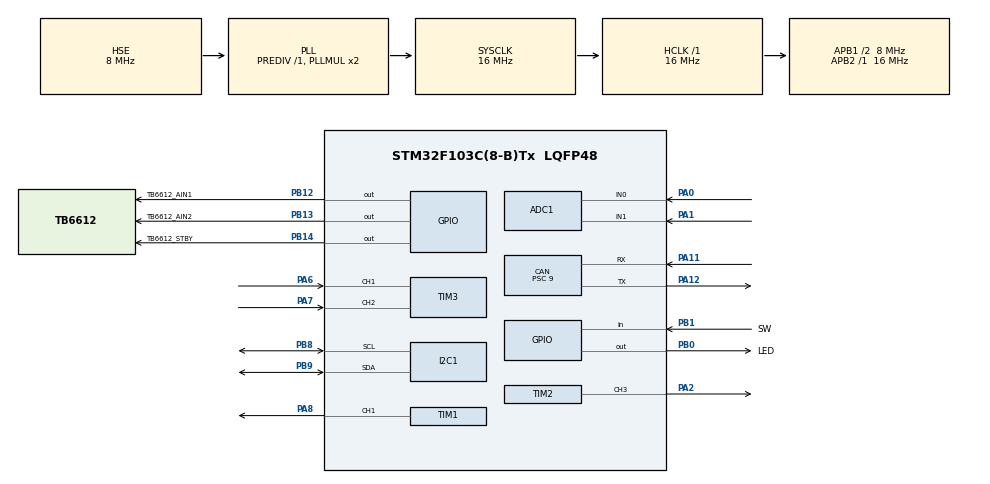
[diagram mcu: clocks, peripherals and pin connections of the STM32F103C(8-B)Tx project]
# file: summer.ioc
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ADC1.Channel-0\#ChannelRegularConversion=ADC_CHANNEL_0
ADC1.Channel-1\#ChannelRegularConversion=ADC_CHANNEL_1
ADC1.ContinuousConvMode=ENABLE
ADC1.NbrOfConversion=2
ADC1.NbrOfConversionFlag=1
ADC1.Rank-0\#ChannelRegularConversion=1
ADC1.Rank-1\#ChannelRegularConversion=2
ADC1.SamplingTime-0\#ChannelRegularConversion=ADC_SAMPLETIME_1CYCLE_5
ADC1.SamplingTime-1\#ChannelRegularConversion=ADC_SAMPLETIME_1CYCLE_5
ADC1.master=1
CAN.ABOM=ENABLE
CAN.BS1=CAN_BS1_11TQ
CAN.BS2=CAN_BS2_4TQ
CAN.CalculateBaudRate=55555
CAN.CalculateTimeBit=18000
CAN.CalculateTimeQuantum=1125.0
CAN.Prescaler=9
CAN.SJW=CAN_SJW_4TQ
CAN.TXFP=ENABLE
FREERTOS.Tasks01=CAN_SendTask,32,128,StartCAN_SendTask,Default,NULL,Dynamic,NULL,NULL;CAN_RecvTask,32,256,StartCAN_RecvTask,Default,NULL,Dynamic,NULL,NULL;CAN_HBTask,24,128,StartCAN_HBTask,Default,NULL,Dynamic,NULL,NULL;LEDTask,24,128,StartLEDTask,Default,NULL,Dynamic,NULL,NULL;JoystickTask,24,128,StartJoystickTask,Default,NULL,Dynamic,NULL,NULL;ServoTask,32,128,StartServoTask,Default,NULL,Dynamic,NULL,NULL;MotorTask,32,256,StartMotorTask,Default,NULL,Dynamic,NULL,NULL;OLEDTask,24,256,StartOLEDTask,Default,NULL,Dynamic,NULL,NULL
FREERTOS.configTOTAL_HEAP_SIZE=15360
Mcu.Family=STM32F1
Mcu.Name=STM32F103C(8-B)Tx
Mcu.Package=LQFP48
NVIC.CAN1_SCE_IRQn=true\:0\:0\:false\:false\:true\:true\:true\:true
NVIC.PriorityGroup=NVIC_PRIORITYGROUP_4
NVIC.TIM4_IRQn=true\:15\:0\:false\:false\:true\:false\:true\:true
NVIC.TimeBase=TIM4_IRQn
NVIC.TimeBaseIP=TIM4
NVIC.USB_HP_CAN1_TX_IRQn=true\:0\:0\:false\:false\:true\:true\:true\:true
NVIC.USB_LP_CAN1_RX0_IRQn=true\:0\:0\:false\:false\:true\:true\:true\:true
PA0-WKUP.Signal=ADCx_IN0
PA1.Signal=ADCx_IN1
PA11.Mode=CAN_Activate
PA11.Signal=CAN_RX
PA12.Mode=CAN_Activate
PA12.Signal=CAN_TX
PA13.Mode=Serial_Wire
PA13.Signal=SYS_JTMS-SWDIO
PA14.Mode=Serial_Wire
PA14.Signal=SYS_JTCK-SWCLK
PA2.Signal=S_TIM2_CH3
PA6.Signal=S_TIM3_CH1
PA7.Signal=S_TIM3_CH2
PA8.Signal=S_TIM1_CH1
PB0.GPIO_Label=LED
PB0.Signal=GPIO_Output
PB1.GPIO_Label=SW
PB1.GPIO_PuPd=GPIO_PULLUP
PB1.Signal=GPIO_Input
PB12.GPIO_Label=TB6612_AIN1
PB12.Signal=GPIO_Output
PB13.GPIO_Label=TB6612_AIN2
PB13.Signal=GPIO_Output
PB14.GPIO_Label=TB6612_STBY
PB14.PinState=GPIO_PIN_SET
PB14.Signal=GPIO_Output
PB8.Mode=I2C
PB8.Signal=I2C1_SCL
PB9.Mode=I2C
PB9.Signal=I2C1_SDA
PD0-OSC_IN.Mode=HSE-External-Oscillator
PD0-OSC_IN.Signal=RCC_OSC_IN
PD1-OSC_OUT.Mode=HSE-External-Oscillator
PD1-OSC_OUT.Signal=RCC_OSC_OUT
ProjectManager.HeapSize=0x200
ProjectManager.StackSize=0x400
ProjectManager.TargetToolchain=STM32CubeIDE
RCC.AHBFreq_Value=16000000
RCC.APB1CLKDivider=RCC_HCLK_DIV2
RCC.APB1Freq_Value=8000000
RCC.APB1TimFreq_Value=16000000
RCC.APB2Freq_Value=16000000
RCC.APB2TimFreq_Value=16000000
RCC.HCLKFreq_Value=16000000
RCC.PLLSourceVirtual=RCC_PLLSOURCE_HSE
RCC.SYSCLKFreq_VALUE=16000000
RCC.SYSCLKSource=RCC_SYSCLKSOURCE_PLLCLK
RCC.USBFreq_Value=16000000
SH.ADCx_IN0.0=ADC1_IN0,IN0
SH.ADCx_IN1.0=ADC1_IN1,IN1
SH.S_TIM1_CH1.0=TIM1_CH1,PWM Generation1 CH1
SH.S_TIM2_CH3.0=TIM2_CH3,PWM Generation3 CH3
SH.S_TIM3_CH1.0=TIM3_CH1,Encoder_Interface
SH.S_TIM3_CH2.0=TIM3_CH2,Encoder_Interface
TIM1.Channel-PWM\ Generation1\ CH1=TIM_CHANNEL_1
TIM2.Channel-PWM\ Generation3\ CH3=TIM_CHANNEL_3
TIM2.Prescaler=71
VP_FREERTOS_VS_CMSIS_V2.Mode=CMSIS_V2
VP_SYS_VS_tim4.Mode=TIM4
VP_TIM1_VS_ClockSourceINT.Mode=Internal
VP_TIM2_VS_ClockSourceINT.Mode=Internal
board=custom

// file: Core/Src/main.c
/* USER CODE BEGIN Header */
/**
  ******************************************************************************
  * @file           : main.c
  * @brief          : Main program body
  ******************************************************************************
  * @attention
  *
  * Copyright (c) 2026 STMicroelectronics.
  * All rights reserved.
  *
  * This software is licensed under terms that can be found in the LICENSE file
  * in the root directory of this software component.
  * If no LICENSE file comes with this software, it is provided AS-IS.
  *
  ******************************************************************************
  */
/* USER CODE END Header */
#include "main.h"
#include "cmsis_os.h"
#include "adc.h"
#include "can.h"
#include "i2c.h"
#include "tim.h"
#include "gpio.h"

/* USER CODE BEGIN Includes */
#include "Summer.h"
#include "system_task_init.h"
/* USER CODE END Includes */

void SystemClock_Config(void);
void MX_FREERTOS_Init(void);

int main(void)
{

  /* MCU Configuration--------------------------------------------------------*/

  /* Reset of all peripherals, Initializes the Flash interface and the Systick. */
  HAL_Init();

  /* Configure the system clock */
  SystemClock_Config();

  /* Initialize all configured peripherals */
  MX_GPIO_Init();
  MX_ADC1_Init();
  MX_CAN_Init();
  MX_I2C1_Init();
  MX_TIM1_Init();
  MX_TIM2_Init();
  MX_TIM3_Init();
  /* USER CODE BEGIN 2 */
  System_Periph_Init();
  /* USER CODE END 2 */

  /* Init scheduler */
  osKernelInitialize();  /* Call init function for freertos objects (in cmsis_os2.c) */
  MX_FREERTOS_Init();

  /* Start scheduler */
  osKernelStart();

  /* We should never get here as control is now taken by the scheduler */

  /* Infinite loop */
  while (1)
  {

  }
}

void SystemClock_Config(void)
{
  RCC_OscInitTypeDef RCC_OscInitStruct = {0};
  RCC_ClkInitTypeDef RCC_ClkInitStruct = {0};
  RCC_PeriphCLKInitTypeDef PeriphClkInit = {0};

  /** Initializes the RCC Oscillators according to the specified parameters
  * in the RCC_OscInitTypeDef structure.
  */
  RCC_OscInitStruct.OscillatorType = RCC_OSCILLATORTYPE_HSE;
  RCC_OscInitStruct.HSEState = RCC_HSE_ON;
  RCC_OscInitStruct.HSEPredivValue = RCC_HSE_PREDIV_DIV1;
  RCC_OscInitStruct.HSIState = RCC_HSI_ON;
  RCC_OscInitStruct.PLL.PLLState = RCC_PLL_ON;
  RCC_OscInitStruct.PLL.PLLSource = RCC_PLLSOURCE_HSE;
  RCC_OscInitStruct.PLL.PLLMUL = RCC_PLL_MUL2;
  if (HAL_RCC_OscConfig(&RCC_OscInitStruct) != HAL_OK)
  {
    Error_Handler();
  }

  /** Initializes the CPU, AHB and APB buses clocks
  */
  RCC_ClkInitStruct.ClockType = RCC_CLOCKTYPE_HCLK|RCC_CLOCKTYPE_SYSCLK
                              |RCC_CLOCKTYPE_PCLK1|RCC_CLOCKTYPE_PCLK2;
  RCC_ClkInitStruct.SYSCLKSource = RCC_SYSCLKSOURCE_PLLCLK;
  RCC_ClkInitStruct.AHBCLKDivider = RCC_SYSCLK_DIV1;
  RCC_ClkInitStruct.APB1CLKDivider = RCC_HCLK_DIV2;
  RCC_ClkInitStruct.APB2CLKDivider = RCC_HCLK_DIV1;

  if (HAL_RCC_ClockConfig(&RCC_ClkInitStruct, FLASH_LATENCY_0) != HAL_OK)
  {
    Error_Handler();
  }
  PeriphClkInit.PeriphClockSelection = RCC_PERIPHCLK_ADC;
  PeriphClkInit.AdcClockSelection = RCC_ADCPCLK2_DIV2;
  if (HAL_RCCEx_PeriphCLKConfig(&PeriphClkInit) != HAL_OK)
  {
    Error_Handler();
  }
}

void HAL_TIM_PeriodElapsedCallback(TIM_HandleTypeDef *htim)
{
  if (htim->Instance == TIM4)
  {
    HAL_IncTick();
  }
}

void Error_Handler(void)
{
  __disable_irq();
  while (1)
  {
  }
}

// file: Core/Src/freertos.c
/* USER CODE BEGIN Header */
/**
  ******************************************************************************
  * File Name          : freertos.c
  * Description        : Code for freertos applications
  ******************************************************************************
  * @attention
  *
  * Copyright (c) 2026 STMicroelectronics.
  * All rights reserved.
  *
  * This software is licensed under terms that can be found in the LICENSE file
  * in the root directory of this software component.
  * If no LICENSE file comes with this software, it is provided AS-IS.
  *
  ******************************************************************************
  */
/* USER CODE END Header */

#include "FreeRTOS.h"
#include "task.h"
#include "main.h"
#include "cmsis_os.h"

/* USER CODE BEGIN Includes */
#include "Summer.h"
#include "can_app.h"
#include "bsp_can.h"
#include "bsp_led.h"
#include "can_protocol.h"
#include <math.h>
#include <stdio.h>
#ifdef GIMBAL
#include "servo_app.h"
#include "joystick_app.h"
#include "bsp_joystick.h"
#include "bsp_servo.h"
#endif
#ifdef CHASSIS
#include "OLED_app.h"
#include "motor_control.h"
#include "bsp_oled.h"
#endif
/* USER CODE END Includes */

/* USER CODE BEGIN Variables */
static uint8_t g_self_test_active = 0;
/* USER CODE END Variables */
osThreadId_t CAN_SendTaskHandle;
const osThreadAttr_t CAN_SendTask_attributes = {
  .name = "CAN_SendTask",
  .stack_size = 128 * 4,
  .priority = (osPriority_t) osPriorityAboveNormal,
};
/* Definitions for CAN_RecvTask */
osThreadId_t CAN_RecvTaskHandle;
const osThreadAttr_t CAN_RecvTask_attributes = {
  .name = "CAN_RecvTask",
  .stack_size = 256 * 4,
  .priority = (osPriority_t) osPriorityAboveNormal,
};
/* Definitions for CAN_HB */
osThreadId_t CAN_HBHandle;
const osThreadAttr_t CAN_HB_attributes = {
  .name = "CAN_HB",
  .stack_size = 128 * 4,
  .priority = (osPriority_t) osPriorityLow,
};
/* Definitions for LEDTask */
osThreadId_t LEDTaskHandle;
const osThreadAttr_t LEDTask_attributes = {
  .name = "LEDTask",
  .stack_size = 128 * 4,
  .priority = (osPriority_t) osPriorityNormal,
};
/* Definitions for JoystickTask */
osThreadId_t JoystickTaskHandle;
const osThreadAttr_t JoystickTask_attributes = {
  .name = "JoystickTask",
  .stack_size = 128 * 4,
  .priority = (osPriority_t) osPriorityNormal,
};
/* Definitions for ServoTask */
osThreadId_t ServoTaskHandle;
const osThreadAttr_t ServoTask_attributes = {
  .name = "ServoTask",
  .stack_size = 128 * 4,
  .priority = (osPriority_t) osPriorityAboveNormal,
};
/* Definitions for MotorTask */
osThreadId_t MotorTaskHandle;
const osThreadAttr_t MotorTask_attributes = {
  .name = "MotorTask",
  .stack_size = 256 * 4,
  .priority = (osPriority_t) osPriorityAboveNormal,
};
/* Definitions for OLEDTask */
osThreadId_t OLEDTaskHandle;
const osThreadAttr_t OLEDTask_attributes = {
  .name = "OLEDTask",
  .stack_size = 256 * 4,
  .priority = (osPriority_t) osPriorityNormal,
};

/* USER CODE BEGIN FunctionPrototypes */
#ifdef GIMBAL
static void SelfTest_Execute(void);
#endif
#ifdef CHASSIS
static float encoder_to_rpm(int32_t delta, float dt_sec);
#endif
/* USER CODE END FunctionPrototypes */

void StartCAN_SendTask(void *argument);
void StartCAN_RecvTask(void *argument);
void StartCAN_HBTask(void *argument);
void StartLEDTask(void *argument);
void StartJoystickTask(void *argument);
void StartServoTask(void *argument);
void StartMotorTask(void *argument);
void StartOLEDTask(void *argument);

void MX_FREERTOS_Init(void); /* (MISRA C 2004 rule 8.1) */

void MX_FREERTOS_Init(void) {

  /* Create the thread(s) */
  CAN_SendTaskHandle = osThreadNew(StartCAN_SendTask, NULL, &CAN_SendTask_attributes);
  CAN_RecvTaskHandle = osThreadNew(StartCAN_RecvTask, NULL, &CAN_RecvTask_attributes);
  CAN_HBHandle = osThreadNew(StartCAN_HBTask, NULL, &CAN_HB_attributes);
  LEDTaskHandle = osThreadNew(StartLEDTask, NULL, &LEDTask_attributes);

#ifdef GIMBAL
  JoystickTaskHandle = osThreadNew(StartJoystickTask, NULL, &JoystickTask_attributes);
  ServoTaskHandle = osThreadNew(StartServoTask, NULL, &ServoTask_attributes);
#endif

#ifdef CHASSIS
  MotorTaskHandle = osThreadNew(StartMotorTask, NULL, &MotorTask_attributes);
  OLEDTaskHandle = osThreadNew(StartOLEDTask, NULL, &OLEDTask_attributes);
#endif

}

void StartCAN_SendTask(void *argument)
{
  /* USER CODE BEGIN StartCAN_SendTask */
  (void)argument;
  uint8_t tx_data[8];
  TickType_t xLastWakeTime = xTaskGetTickCount();
  for(;;)
  {
    uint32_t period = g_can_state.can_comm_ok
                    ? CAN_SEND_PERIOD_MS : CAN_SLOW_SEND_PERIOD_MS;
    vTaskDelayUntil(&xLastWakeTime, pdMS_TO_TICKS(period));
#ifdef GIMBAL
    g_can_state.gimbal_ctrl.gimbal_heartbeat = g_can_state.gimbal_heartbeat;
    GimbalCtrlMsg_t ctrl = g_can_state.gimbal_ctrl;
    Protocol_EncodeGimbalCtrl(&ctrl, tx_data);
    HAL_StatusTypeDef status = BSP_CAN_SendMessage(CAN_GIMBAL_TO_CHASSIS_ID, tx_data, CAN_TX_TIMEOUT);
    g_can_state.gimbal_heartbeat = (g_can_state.gimbal_heartbeat + 1) & CAN_HEARTBEAT_MASK;
#endif
#ifdef CHASSIS
    g_can_state.chassis_feedback.chassis_heartbeat = g_can_state.chassis_heartbeat;
    ChassisFeedbackMsg_t fb = g_can_state.chassis_feedback;
    Protocol_EncodeChassisFeedback(&fb, tx_data);
    HAL_StatusTypeDef status = BSP_CAN_SendMessage(CAN_CHASSIS_TO_GIMBAL_ID, tx_data, CAN_TX_TIMEOUT);
    g_can_state.chassis_heartbeat = (g_can_state.chassis_heartbeat + 1) & CAN_HEARTBEAT_MASK;
#endif
    if (status == HAL_OK) g_can_state.can_tx_cnt++;
    osDelay(20);
  }
  /* USER CODE END StartCAN_SendTask */
}

void StartCAN_RecvTask(void *argument)
{
  /* USER CODE BEGIN StartCAN_RecvTask */
  (void)argument;
  BSP_CAN_RxMsg_t rx_msg;
  for(;;)
  {
    if (BSP_CAN_GetRxMessage(&rx_msg) == 0) {
      vTaskDelay(pdMS_TO_TICKS(1));
      continue;
    }
#ifdef GIMBAL
    if (rx_msg.header.StdId == CAN_CHASSIS_TO_GIMBAL_ID) {
      Protocol_DecodeChassisFeedback(rx_msg.data, &g_can_state.chassis_feedback_rx);
      g_can_state.chassis_fb_updated = 1;
      g_can_state.last_chassis_rx_time = HAL_GetTick();
      g_can_state.can_rx_cnt++;
      if (g_can_state.chassis_feedback_rx.chassis_heartbeat != g_can_state.last_chassis_hb) {
        g_can_state.last_chassis_hb = g_can_state.chassis_feedback_rx.chassis_heartbeat;
        g_can_state.chassis_online = 1;
      }
    }
#endif
#ifdef CHASSIS
    if (rx_msg.header.StdId == CAN_GIMBAL_TO_CHASSIS_ID) {
      Protocol_DecodeGimbalCtrl(rx_msg.data, &g_can_state.gimbal_ctrl_rx);
      g_can_state.gimbal_ctrl_updated = 1;
      g_can_state.last_gimbal_rx_time = HAL_GetTick();
      g_can_state.can_rx_cnt++;
      if (g_can_state.gimbal_ctrl_rx.gimbal_heartbeat != g_can_state.last_gimbal_hb) {
        g_can_state.last_gimbal_hb = g_can_state.gimbal_ctrl_rx.gimbal_heartbeat;
        g_can_state.gimbal_online = 1;
      }
    }
#endif
    osDelay(1);
  }
  /* USER CODE END StartCAN_RecvTask */
}

void StartCAN_HBTask(void *argument)
{
  /* USER CODE BEGIN StartCAN_HBTask */
  (void)argument;
  TickType_t xLastWakeTime = xTaskGetTickCount();
  vTaskDelay(pdMS_TO_TICKS(500));
  /* Infinite loop */
  for(;;)
  {
    vTaskDelayUntil(&xLastWakeTime, pdMS_TO_TICKS(50));
    uint32_t now = HAL_GetTick();
    uint8_t prev_comm_ok = g_can_state.can_comm_ok;
    uint8_t comm_ok = 1;
#ifdef GIMBAL
    if ((now - g_can_state.last_chassis_rx_time) > CAN_HEARTBEAT_TIMEOUT) {
      g_can_state.chassis_online = 0;
      comm_ok = 0;
    }
    g_can_state.can_comm_ok = comm_ok;
    if (prev_comm_ok != comm_ok) {
      if (comm_ok)
        g_can_state.gimbal_ctrl.status_flags &= ~STATUS_CAN_ERROR;
      else
        g_can_state.gimbal_ctrl.status_flags |= STATUS_CAN_ERROR;
    }
#endif
#ifdef CHASSIS
    if ((now - g_can_state.last_gimbal_rx_time) > CAN_HEARTBEAT_TIMEOUT) {
      g_can_state.gimbal_online = 0;
      g_can_state.gimbal_ctrl_rx.servo_online = 0;
      comm_ok = 0;
    }
    g_can_state.can_comm_ok = comm_ok;
    if (prev_comm_ok != comm_ok) {
      if (comm_ok)
        g_can_state.chassis_feedback.status_flags &= ~STATUS_CAN_ERROR;
      else
        g_can_state.chassis_feedback.status_flags |= STATUS_CAN_ERROR;
    }
#endif
    osDelay(1);
  }
  /* USER CODE END StartCAN_HBTask */
}

void StartLEDTask(void *argument)
{
  /* USER CODE BEGIN StartLEDTask */
  (void)argument;
  LED_StartBlink();
  uint8_t should_breath = 0;
  for(;;)
  {
    if (g_self_test_active) {
      LED_On();
      vTaskDelay(pdMS_TO_TICKS(50));
      continue;
    }
    uint8_t steady_on = 0;
#ifdef GIMBAL
    if (g_can_state.chassis_online && g_can_state.chassis_feedback_rx.motor_online) {
      steady_on = 1;
    }
    should_breath = g_can_state.can_comm_ok ? 0 : 1;
#endif
#ifdef CHASSIS
    if (MotorControl_IsError() == 0) {
      steady_on = 1;
    }
    should_breath = g_motor.motor_error ? 1 : 0;
#endif
    if (steady_on) {
      LED_On();
      vTaskDelay(pdMS_TO_TICKS(200));
    } else {
      LED_Breath(should_breath);
    }
  }
  /* USER CODE END StartLEDTask */
}

#ifdef GIMBAL
void StartJoystickTask(void *argument)
{
  /* USER CODE BEGIN StartJoystickTask */
  (void)argument;
  BSP_Joystick_Calibrate();
  TickType_t xLastWakeTime = xTaskGetTickCount();
  for(;;)
  {
    vTaskDelayUntil(&xLastWakeTime, pdMS_TO_TICKS(JOYSTICK_SAMPLE_PERIOD_MS));
    if (!g_self_test_active && Joystick_APP_IsSWPressed()) {
      g_self_test_active = 1;
      SelfTest_Execute();
      g_self_test_active = 0;
      continue;
    }
    if (g_self_test_active) {
      continue;
    }
    int16_t servo_rpm = 0;
    int16_t wheel_rpm = 0;
    Joystick_APP_Update(&servo_rpm, &wheel_rpm);
    CAN_App_SetGimbalCtrl(servo_rpm, wheel_rpm);
    osDelay(10);
  }
  /* USER CODE END StartJoystickTask */
}
#endif

#ifdef GIMBAL
void StartServoTask(void *argument)
{
  /* USER CODE BEGIN StartServoTask */
  (void)argument;
  TickType_t xLastWakeTime = xTaskGetTickCount();
  for(;;)
  {
    vTaskDelayUntil(&xLastWakeTime, pdMS_TO_TICKS(SERVO_CTRL_PERIOD_MS));
    if (g_self_test_active) {
      osDelay(20);
      continue;
    }
    int8_t speed = g_servo.target_speed;
    BSP_Servo_SetSpeed(speed);
    osDelay(20);
  }
  /* USER CODE END StartServoTask */
}
#endif

#ifdef CHASSIS
void StartMotorTask(void *argument)
{
  /* USER CODE BEGIN StartMotorTask */
  (void)argument;
  Motor_SelfTest();
  TickType_t xLastWakeTime = xTaskGetTickCount();
  for(;;)
  {
    vTaskDelayUntil(&xLastWakeTime, pdMS_TO_TICKS(MOTOR_CTRL_PERIOD_MS));
    int32_t encoder_delta = BSP_Motor_GetEncoderAndClear();
    float actual_rpm = encoder_to_rpm(encoder_delta, MOTOR_CTRL_DT);
    g_motor.actual_rpm = actual_rpm;
    g_motor.raw_encoder = encoder_delta;
    float target_rpm = g_motor.target_rpm;
    if (CAN_App_IsGimbalCtrlUpdated()) {
      GimbalCtrlMsg_t ctrl = CAN_App_GetGimbalCtrl();
      target_rpm = (float)ctrl.wheel_target_speed;
      g_motor.target_rpm = target_rpm;
      g_motor.target_updated = 1;
    }
    if (fabsf(target_rpm) < MOTOR_ZERO_SPEED_THRESHOLD) {
      PID_Reset(&g_motor.speed_pid);
    }
    float pid_out = PID_Compute(&g_motor.speed_pid, target_rpm, actual_rpm, MOTOR_CTRL_DT);
    g_motor.pid_output = pid_out;
    uint16_t duty = (uint16_t)fabsf(pid_out);
    if (duty > MOTOR_PWM_MAX) duty = MOTOR_PWM_MAX;
    if (duty < 50 && fabsf(target_rpm) < MOTOR_ZERO_SPEED_THRESHOLD) {
      BSP_Motor_Stop();
    }
    else if (pid_out > 0.0f) {
      BSP_Motor_SetSpeed(duty, MOTOR_DIR_CW);
    }
    else if (pid_out < 0.0f) {
      BSP_Motor_SetSpeed(duty, MOTOR_DIR_CCW);
    }
    else {
      BSP_Motor_Stop();
    }
    CAN_App_SetChassisFeedback((int16_t)actual_rpm, (int16_t)encoder_delta);
  }
  /* USER CODE END StartMotorTask */
}
#endif

#ifdef CHASSIS
void StartOLEDTask(void *argument)
{
  /* USER CODE BEGIN StartOLEDTask */
  (void)argument;
  vTaskDelay(pdMS_TO_TICKS(100));
  TickType_t xLastWakeTime = xTaskGetTickCount();
  for(;;)
  {
    vTaskDelayUntil(&xLastWakeTime, pdMS_TO_TICKS(OLED_REFRESH_PERIOD_MS));
    OLED_app_Update();
    osDelay(1);
  }
  /* USER CODE END StartOLEDTask */
}
#endif

/* USER CODE BEGIN Application */
#ifdef GIMBAL
static void SelfTest_Execute(void)
{
  CAN_App_SetStatusFlag(STATUS_SELF_TEST, 1);
  for (int i = 0; i < 2; i++) {
    LED_Off();
    vTaskDelay(pdMS_TO_TICKS(150));
    LED_On();
    vTaskDelay(pdMS_TO_TICKS(150));
  }
  CAN_App_SetGimbalCtrl(60, 0);
  BSP_Servo_SetSpeed(100);
  vTaskDelay(pdMS_TO_TICKS(SELF_TEST_SERVO_DURATION_MS));
  CAN_App_SetGimbalCtrl(-60, 0);
  BSP_Servo_SetSpeed(-100);
  vTaskDelay(pdMS_TO_TICKS(SELF_TEST_SERVO_DURATION_MS));
  BSP_Servo_SetSpeed(0);
  CAN_App_SetGimbalCtrl(0, 0);
  vTaskDelay(pdMS_TO_TICKS(500));
  CAN_App_SetGimbalCtrl(0, 100);
  vTaskDelay(pdMS_TO_TICKS(SELF_TEST_PHASE_DURATION_MS));
  CAN_App_SetGimbalCtrl(0, -100);
  vTaskDelay(pdMS_TO_TICKS(SELF_TEST_PHASE_DURATION_MS));
  CAN_App_SetGimbalCtrl(0, 0);
  CAN_App_SetStatusFlag(STATUS_SELF_TEST, 0);
  LED_On();
}
#endif

#ifdef CHASSIS
static float encoder_to_rpm(int32_t delta, float dt_sec)
{
  if (dt_sec <= 0.0f) return 0.0f;
  float revolutions = (float)delta / MOTOR_ENCODER_CPR;
  return revolutions * 60.0f / dt_sec;
}
#endif
/* USER CODE END Application */
